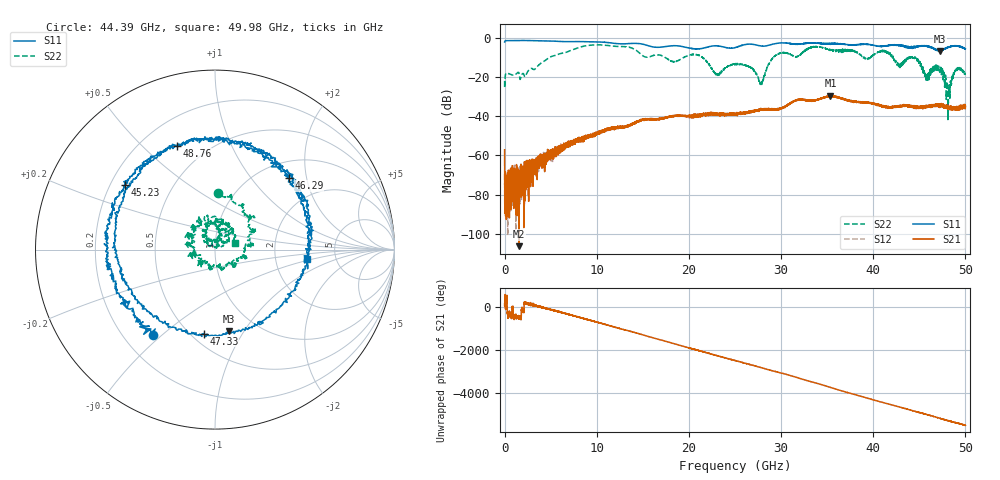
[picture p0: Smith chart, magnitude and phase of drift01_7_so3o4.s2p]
!Created with skrf (http://scikit-rf.org).
# Hz S RI R 50.0
!freq ReS11 ImS11 ReS21 ImS21 ReS12 ImS12 ReS22 ImS22
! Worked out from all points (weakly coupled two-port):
!   10001 points, 300 kHz to 50 GHz, reference 50 ohm
!   highest |S21| = -29.54 dB at 35.36 GHz (marker M1); lowest = -106.4 dB at 1.585 GHz (marker M2)
!   lowest |S11| = -6.7 dB at 47.22 GHz (marker M3), VSWR 2.71, Z = 37.4 - j43.1 ohm
!   |S11| at or under -10 dB: nowhere
!   |S22| runs from -41.8 to -3.6 dB; largest |S21 - S12| = 0.0032
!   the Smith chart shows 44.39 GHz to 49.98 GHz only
!   S11 on the Smith chart (normalised r, x): 44.39 GHz: 0.32, -0.46; 45.23 GHz: 0.26, +0.30; 46.29 GHz: 1.33, +1.58; 47.33 GHz: 0.58, -0.69; 48.76 GHz: 0.34, +0.64; 49.98 GHz: 3.08, -0.44
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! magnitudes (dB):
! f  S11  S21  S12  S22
! 300 kHz  -2.1  -57.2  -69.6  -22.0
! 260.3 MHz  -1.4  -79.6  -85.3  -18.0
! 1.585 GHz  -1.4  -106.4  -71.4  -18.7
! 8.335 GHz  -1.9  -51.0  -51.8  -4.6
! 16.67 GHz  -4.9  -41.7  -41.4  -8.7
! 20.96 GHz  -5.6  -39.4  -40.1  -8.7
! 23.07 GHz  -4.1  -39.4  -39.2  -18.7
! 25 GHz  -5.0  -39.3  -38.7  -13.7
! 27.83 GHz  -4.1  -36.6  -36.3  -22.5
! 29.48 GHz  -2.9  -36.6  -36.4  -8.8
! 33.34 GHz  -2.6  -32.3  -32.0  -4.7
! 35.36 GHz  -3.0  -29.5  -29.9  -6.1
! 41.67 GHz  -3.9  -35.3  -35.4  -7.5
! 44.39 GHz  -4.6  -34.9  -35.1  -10.0
! 45.23 GHz  -4.2  -35.9  -35.4  -14.4
! 46.29 GHz  -4.8  -35.2  -34.9  -16.0
! 47.22 GHz  -6.7  -34.0  -34.7  -16.8
! 47.33 GHz  -6.5  -34.5  -34.7  -15.5
! 48.13 GHz  -4.9  -35.7  -35.8  -35.3
! 48.76 GHz  -4.2  -35.8  -36.1  -18.4
! 49.98 GHz  -5.7  -34.7  -34.7  -18.4
! 50 GHz  -5.6  -34.7  -35.2  -18.8
